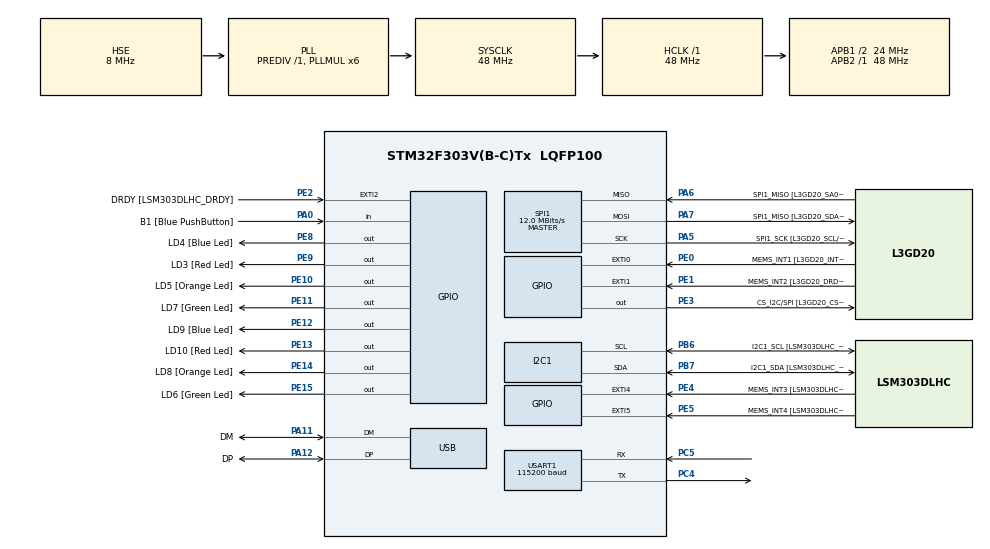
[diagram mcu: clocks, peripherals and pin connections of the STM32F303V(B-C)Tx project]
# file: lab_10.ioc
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I2C1.Timing=0x2000090E
I2C1.Timing-I2C=0x2000090E
Mcu.Family=STM32F3
Mcu.Name=STM32F303V(B-C)Tx
Mcu.Package=LQFP100
NVIC.PriorityGroup=NVIC_PRIORITYGROUP_0
PA0.GPIO_Label=B1 [Blue PushButton]
PA0.Signal=GPIO_Input
PA11.GPIO_Label=DM
PA11.Mode=Device
PA11.Signal=USB_DM
PA12.GPIO_Label=DP
PA12.Mode=Device
PA12.Signal=USB_DP
PA13.GPIO_Label=SWDIO
PA13.Mode=Serial_Wire
PA13.Signal=SYS_JTMS-SWDIO
PA14.GPIO_Label=SWCLK
PA14.Mode=Serial_Wire
PA14.Signal=SYS_JTCK-SWCLK
PA5.GPIO_Label=SPI1_SCK [L3GD20_SCL/SPC]
PA5.Mode=Full_Duplex_Master
PA5.Signal=SPI1_SCK
PA6.GPIO_Label=SPI1_MISO [L3GD20_SA0/SDO]
PA6.Mode=Full_Duplex_Master
PA6.Signal=SPI1_MISO
PA7.GPIO_Label=SPI1_MISO [L3GD20_SDA/SDI/SDO]
PA7.Mode=Full_Duplex_Master
PA7.Signal=SPI1_MOSI
PB3.GPIO_Label=SWO
PB3.Signal=SYS_JTDO-TRACESWO
PB6.GPIO_Label=I2C1_SCL [LSM303DLHC_SCL]
PB6.GPIO_Pu=GPIO_PULLUP
PB6.Mode=I2C
PB6.Signal=I2C1_SCL
PB7.GPIO_Label=I2C1_SDA [LSM303DLHC_SDA]
PB7.GPIO_Pu=GPIO_PULLUP
PB7.Mode=I2C
PB7.Signal=I2C1_SDA
PC14-OSC32_IN.GPIO_Label=OSC32_IN
PC14-OSC32_IN.Signal=RCC_OSC32_IN
PC15-OSC32_OUT.GPIO_Label=OSC32_OUT
PC15-OSC32_OUT.Signal=RCC_OSC32_OUT
PC4.Mode=Asynchronous
PC4.Signal=USART1_TX
PC5.Mode=Asynchronous
PC5.Signal=USART1_RX
PE0.GPIO_Label=MEMS_INT1 [L3GD20_INT1]
PE0.GPIO_ModeDefaultEXTI=GPIO_MODE_EVT_RISING
PE0.Signal=GPXTI0
PE1.GPIO_Label=MEMS_INT2 [L3GD20_DRDY/INT2]
PE1.GPIO_ModeDefaultEXTI=GPIO_MODE_EVT_RISING
PE1.Signal=GPXTI1
PE10.GPIO_Label=LD5 [Orange Led]
PE10.Signal=GPIO_Output
PE11.GPIO_Label=LD7 [Green Led]
PE11.Signal=GPIO_Output
PE12.GPIO_Label=LD9 [Blue Led]
PE12.Signal=GPIO_Output
PE13.GPIO_Label=LD10 [Red Led]
PE13.Signal=GPIO_Output
PE14.GPIO_Label=LD8 [Orange Led]
PE14.Signal=GPIO_Output
PE15.GPIO_Label=LD6 [Green Led]
PE15.Signal=GPIO_Output
PE2.GPIO_Label=DRDY [LSM303DLHC_DRDY]
PE2.GPIO_ModeDefaultEXTI=GPIO_MODE_EVT_RISING
PE2.Signal=GPXTI2
PE3.GPIO_Label=CS_I2C/SPI [L3GD20_CS_I2C/SPI]
PE3.Signal=GPIO_Output
PE4.GPIO_Label=MEMS_INT3 [LSM303DLHC_INT1]
PE4.GPIO_ModeDefaultEXTI=GPIO_MODE_EVT_RISING
PE4.Signal=GPXTI4
PE5.GPIO_Label=MEMS_INT4 [LSM303DLHC_INT2]
PE5.GPIO_ModeDefaultEXTI=GPIO_MODE_EVT_RISING
PE5.Signal=GPXTI5
PE8.GPIO_Label=LD4 [Blue Led]
PE8.Signal=GPIO_Output
PE9.GPIO_Label=LD3 [Red Led]
PE9.Signal=GPIO_Output
PF0-OSC_IN.GPIO_Label=OSC_IN
PF0-OSC_IN.Mode=HSE-External-Oscillator
PF0-OSC_IN.Signal=RCC_OSC_IN
PF1-OSC_OUT.GPIO_Label=OSC_OUT
PF1-OSC_OUT.Mode=HSE-External-Oscillator
PF1-OSC_OUT.Signal=RCC_OSC_OUT
ProjectManager.HeapSize=0x800
ProjectManager.StackSize=0x400
ProjectManager.TargetToolchain=CMake
RCC.AHBFreq_Value=48000000
RCC.APB1CLKDivider=RCC_HCLK_DIV2
RCC.APB1Freq_Value=24000000
RCC.APB1TimFreq_Value=48000000
RCC.APB2Freq_Value=48000000
RCC.APB2TimFreq_Value=48000000
RCC.CortexFreq_Value=48000000
RCC.HCLKFreq_Value=48000000
RCC.HSE_VALUE=8000000
RCC.HSI_VALUE=8000000
RCC.LSE_VALUE=32768
RCC.PLLMUL=RCC_PLL_MUL6
RCC.SYSCLKFreq_VALUE=48000000
RCC.SYSCLKSourceVirtual=RCC_SYSCLKSOURCE_PLLCLK
RCC.USBFreq_Value=48000000
SPI1.BaudRatePrescaler=SPI_BAUDRATEPRESCALER_4
SPI1.BaudRatePrescaler-Full_Duplex_Master=SPI_BAUDRATEPRESCALER_2
SPI1.CalculateBaudRate=12.0 MBits/s
SPI1.CalculateBaudRate-Full_Duplex_Master=24.0 MBits/s
SPI1.Direction=SPI_DIRECTION_2LINES
SPI1.Mode=SPI_MODE_MASTER
SPI1.Mode-Full_Duplex_Master=SPI_MODE_MASTER
SPI1.VirtualType=VM_MASTER
USART1.BaudRate=115200
USART1.VirtualMode-Asynchronous=VM_ASYNC
board=STM32F3DISCOVERY

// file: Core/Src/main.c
/* USER CODE BEGIN Header */
/**
  ******************************************************************************
  * @file           : main.c
  * @brief          : Main program body
  ******************************************************************************
  * @attention
  *
  * Copyright (c) 2026 STMicroelectronics.
  * All rights reserved.
  *
  * This software is licensed under terms that can be found in the LICENSE file
  * in the root directory of this software component.
  * If no LICENSE file comes with this software, it is provided AS-IS.
  *
  ******************************************************************************
  */
/* USER CODE END Header */
#include "main.h"

/* USER CODE BEGIN Includes */
#include <stdlib.h>
#include <string.h>
#include <stdio.h>
#include "heap_driver.h"
/* USER CODE END Includes */

I2C_HandleTypeDef hi2c1;

SPI_HandleTypeDef hspi1;

UART_HandleTypeDef huart1;

PCD_HandleTypeDef hpcd_USB_FS;

void SystemClock_Config(void);
static void MX_GPIO_Init(void);
static void MX_I2C1_Init(void);
static void MX_SPI1_Init(void);
static void MX_USART1_UART_Init(void);
static void MX_USB_PCD_Init(void);

/* USER CODE BEGIN 0 */
static void uart_print(const char *msg) {
    HAL_UART_Transmit(&huart1, (uint8_t *)msg, strlen(msg), HAL_MAX_DELAY);
}
/* USER CODE END 0 */

int main(void)
{

  /* MCU Configuration--------------------------------------------------------*/

  /* Reset of all peripherals, Initializes the Flash interface and the Systick. */
  HAL_Init();

  /* Configure the system clock */
  SystemClock_Config();

  /* Initialize all configured peripherals */
  MX_GPIO_Init();
  MX_I2C1_Init();
  MX_SPI1_Init();
  MX_USART1_UART_Init();
  MX_USB_PCD_Init();
  /* USER CODE BEGIN 2 */
  //Task 1
// char buf[128];
// const int n = 10;

// int *arr_malloc = (int *)malloc(n * sizeof(int));
// if (arr_malloc == NULL) {
//     uart_print("ERROR: malloc failed!\r\n");
// } else {
//     for (int i = 0; i < n; i++)
//         arr_malloc[i] = i * 2;

//     uart_print("=== malloc array (i*2) ===\r\n");
//     for (int i = 0; i < n; i++) {
//         snprintf(buf, sizeof(buf), "  arr_malloc[%d] = %d\r\n", i, arr_malloc[i]);
//         uart_print(buf);
//     }
// }

// int *arr_calloc = (int *)calloc(n, sizeof(int));
// if (arr_calloc == NULL) {
//     uart_print("ERROR: calloc failed!\r\n");
// } else {
//     uart_print("\r\n=== calloc before init (should be 0) ===\r\n");
//     for (int i = 0; i < n; i++) {
//         snprintf(buf, sizeof(buf), "  arr_calloc[%d] = %d\r\n", i, arr_calloc[i]);
//         uart_print(buf);
//     }

//     for (int i = 0; i < n; i++)
//         arr_calloc[i] = i + 1;

//     uart_print("\r\n=== calloc after init (i+1) ===\r\n");
//     for (int i = 0; i < n; i++) {
//         snprintf(buf, sizeof(buf), "  arr_calloc[%d] = %d\r\n", i, arr_calloc[i]);
//         uart_print(buf);
//     }
// }

// free(arr_malloc);  arr_malloc = NULL;
// free(arr_calloc);  arr_calloc = NULL;

// uart_print("\r\nMemory freed. Pointers set to NULL.\r\n");
heap_init();
  uart_print("\r\n=== Custom Heap Driver (Direct SRAM) ===\r\n");

  int *block1 = (int*) heap_alloc(16);
  char *block2 = (char*) heap_alloc(16);

  if (block1 != NULL) {
      block1[0] = 42;
      uart_print("Data in Block 1\r\n");
  }

  if (block2 != NULL) {
      memcpy(block2, "Hello", 6);
      uart_print("Text from Block 2\r\n");
  }

  heap_free(block1);
  heap_free(block2);
  uart_print("Blocks freed.\r\n");
  /* USER CODE END 2 */

  /* Infinite loop */
  while (1)
  {

  }
}

void SystemClock_Config(void)
{
  RCC_OscInitTypeDef RCC_OscInitStruct = {0};
  RCC_ClkInitTypeDef RCC_ClkInitStruct = {0};
  RCC_PeriphCLKInitTypeDef PeriphClkInit = {0};

  /** Initializes the RCC Oscillators according to the specified parameters
  * in the RCC_OscInitTypeDef structure.
  */
  RCC_OscInitStruct.OscillatorType = RCC_OSCILLATORTYPE_HSI|RCC_OSCILLATORTYPE_HSE;
  RCC_OscInitStruct.HSEState = RCC_HSE_ON;
  RCC_OscInitStruct.HSEPredivValue = RCC_HSE_PREDIV_DIV1;
  RCC_OscInitStruct.HSIState = RCC_HSI_ON;
  RCC_OscInitStruct.HSICalibrationValue = RCC_HSICALIBRATION_DEFAULT;
  RCC_OscInitStruct.PLL.PLLState = RCC_PLL_ON;
  RCC_OscInitStruct.PLL.PLLSource = RCC_PLLSOURCE_HSE;
  RCC_OscInitStruct.PLL.PLLMUL = RCC_PLL_MUL6;
  if (HAL_RCC_OscConfig(&RCC_OscInitStruct) != HAL_OK)
  {
    Error_Handler();
  }

  /** Initializes the CPU, AHB and APB buses clocks
  */
  RCC_ClkInitStruct.ClockType = RCC_CLOCKTYPE_HCLK|RCC_CLOCKTYPE_SYSCLK
                              |RCC_CLOCKTYPE_PCLK1|RCC_CLOCKTYPE_PCLK2;
  RCC_ClkInitStruct.SYSCLKSource = RCC_SYSCLKSOURCE_PLLCLK;
  RCC_ClkInitStruct.AHBCLKDivider = RCC_SYSCLK_DIV1;
  RCC_ClkInitStruct.APB1CLKDivider = RCC_HCLK_DIV2;
  RCC_ClkInitStruct.APB2CLKDivider = RCC_HCLK_DIV1;

  if (HAL_RCC_ClockConfig(&RCC_ClkInitStruct, FLASH_LATENCY_1) != HAL_OK)
  {
    Error_Handler();
  }
  PeriphClkInit.PeriphClockSelection = RCC_PERIPHCLK_USB|RCC_PERIPHCLK_USART1
                              |RCC_PERIPHCLK_I2C1;
  PeriphClkInit.Usart1ClockSelection = RCC_USART1CLKSOURCE_PCLK2;
  PeriphClkInit.I2c1ClockSelection = RCC_I2C1CLKSOURCE_HSI;
  PeriphClkInit.USBClockSelection = RCC_USBCLKSOURCE_PLL;
  if (HAL_RCCEx_PeriphCLKConfig(&PeriphClkInit) != HAL_OK)
  {
    Error_Handler();
  }
}

static void MX_I2C1_Init(void)
{

  hi2c1.Instance = I2C1;
  hi2c1.Init.Timing = 0x2000090E;
  hi2c1.Init.OwnAddress1 = 0;
  hi2c1.Init.AddressingMode = I2C_ADDRESSINGMODE_7BIT;
  hi2c1.Init.DualAddressMode = I2C_DUALADDRESS_DISABLE;
  hi2c1.Init.OwnAddress2 = 0;
  hi2c1.Init.OwnAddress2Masks = I2C_OA2_NOMASK;
  hi2c1.Init.GeneralCallMode = I2C_GENERALCALL_DISABLE;
  hi2c1.Init.NoStretchMode = I2C_NOSTRETCH_DISABLE;
  if (HAL_I2C_Init(&hi2c1) != HAL_OK)
  {
    Error_Handler();
  }

  /** Configure Analogue filter
  */
  if (HAL_I2CEx_ConfigAnalogFilter(&hi2c1, I2C_ANALOGFILTER_ENABLE) != HAL_OK)
  {
    Error_Handler();
  }

  /** Configure Digital filter
  */
  if (HAL_I2CEx_ConfigDigitalFilter(&hi2c1, 0) != HAL_OK)
  {
    Error_Handler();
  }

}

static void MX_SPI1_Init(void)
{

  /* SPI1 parameter configuration*/
  hspi1.Instance = SPI1;
  hspi1.Init.Mode = SPI_MODE_MASTER;
  hspi1.Init.Direction = SPI_DIRECTION_2LINES;
  hspi1.Init.DataSize = SPI_DATASIZE_4BIT;
  hspi1.Init.CLKPolarity = SPI_POLARITY_LOW;
  hspi1.Init.CLKPhase = SPI_PHASE_1EDGE;
  hspi1.Init.NSS = SPI_NSS_SOFT;
  hspi1.Init.BaudRatePrescaler = SPI_BAUDRATEPRESCALER_4;
  hspi1.Init.FirstBit = SPI_FIRSTBIT_MSB;
  hspi1.Init.TIMode = SPI_TIMODE_DISABLE;
  hspi1.Init.CRCCalculation = SPI_CRCCALCULATION_DISABLE;
  hspi1.Init.CRCPolynomial = 7;
  hspi1.Init.CRCLength = SPI_CRC_LENGTH_DATASIZE;
  hspi1.Init.NSSPMode = SPI_NSS_PULSE_ENABLE;
  if (HAL_SPI_Init(&hspi1) != HAL_OK)
  {
    Error_Handler();
  }

}

static void MX_USART1_UART_Init(void)
{

  huart1.Instance = USART1;
  huart1.Init.BaudRate = 115200;
  huart1.Init.WordLength = UART_WORDLENGTH_8B;
  huart1.Init.StopBits = UART_STOPBITS_1;
  huart1.Init.Parity = UART_PARITY_NONE;
  huart1.Init.Mode = UART_MODE_TX_RX;
  huart1.Init.HwFlowCtl = UART_HWCONTROL_NONE;
  huart1.Init.OverSampling = UART_OVERSAMPLING_16;
  huart1.Init.OneBitSampling = UART_ONE_BIT_SAMPLE_DISABLE;
  huart1.AdvancedInit.AdvFeatureInit = UART_ADVFEATURE_NO_INIT;
  if (HAL_UART_Init(&huart1) != HAL_OK)
  {
    Error_Handler();
  }

}

static void MX_USB_PCD_Init(void)
{

  hpcd_USB_FS.Instance = USB;
  hpcd_USB_FS.Init.dev_endpoints = 8;
  hpcd_USB_FS.Init.speed = PCD_SPEED_FULL;
  hpcd_USB_FS.Init.phy_itface = PCD_PHY_EMBEDDED;
  hpcd_USB_FS.Init.low_power_enable = DISABLE;
  hpcd_USB_FS.Init.battery_charging_enable = DISABLE;
  if (HAL_PCD_Init(&hpcd_USB_FS) != HAL_OK)
  {
    Error_Handler();
  }

}

static void MX_GPIO_Init(void)
{
  GPIO_InitTypeDef GPIO_InitStruct = {0};

  /* GPIO Ports Clock Enable */
  __HAL_RCC_GPIOE_CLK_ENABLE();
  __HAL_RCC_GPIOC_CLK_ENABLE();
  __HAL_RCC_GPIOF_CLK_ENABLE();
  __HAL_RCC_GPIOA_CLK_ENABLE();
  __HAL_RCC_GPIOB_CLK_ENABLE();

  /*Configure GPIO pin Output Level */
  HAL_GPIO_WritePin(GPIOE, CS_I2C_SPI_Pin|LD4_Pin|LD3_Pin|LD5_Pin
                          |LD7_Pin|LD9_Pin|LD10_Pin|LD8_Pin
                          |LD6_Pin, GPIO_PIN_RESET);

  /*Configure GPIO pins : DRDY_Pin MEMS_INT3_Pin MEMS_INT4_Pin MEMS_INT1_Pin
                           MEMS_INT2_Pin */
  GPIO_InitStruct.Pin = DRDY_Pin|MEMS_INT3_Pin|MEMS_INT4_Pin|MEMS_INT1_Pin
                          |MEMS_INT2_Pin;
  GPIO_InitStruct.Mode = GPIO_MODE_EVT_RISING;
  GPIO_InitStruct.Pull = GPIO_NOPULL;
  HAL_GPIO_Init(GPIOE, &GPIO_InitStruct);

  /*Configure GPIO pins : CS_I2C_SPI_Pin LD4_Pin LD3_Pin LD5_Pin
                           LD7_Pin LD9_Pin LD10_Pin LD8_Pin
                           LD6_Pin */
  GPIO_InitStruct.Pin = CS_I2C_SPI_Pin|LD4_Pin|LD3_Pin|LD5_Pin
                          |LD7_Pin|LD9_Pin|LD10_Pin|LD8_Pin
                          |LD6_Pin;
  GPIO_InitStruct.Mode = GPIO_MODE_OUTPUT_PP;
  GPIO_InitStruct.Pull = GPIO_NOPULL;
  GPIO_InitStruct.Speed = GPIO_SPEED_FREQ_LOW;
  HAL_GPIO_Init(GPIOE, &GPIO_InitStruct);

  /*Configure GPIO pin : B1_Pin */
  GPIO_InitStruct.Pin = B1_Pin;
  GPIO_InitStruct.Mode = GPIO_MODE_INPUT;
  GPIO_InitStruct.Pull = GPIO_NOPULL;
  HAL_GPIO_Init(B1_GPIO_Port, &GPIO_InitStruct);

}

void Error_Handler(void)
{
  __disable_irq();
  while (1)
  {
  }
}
